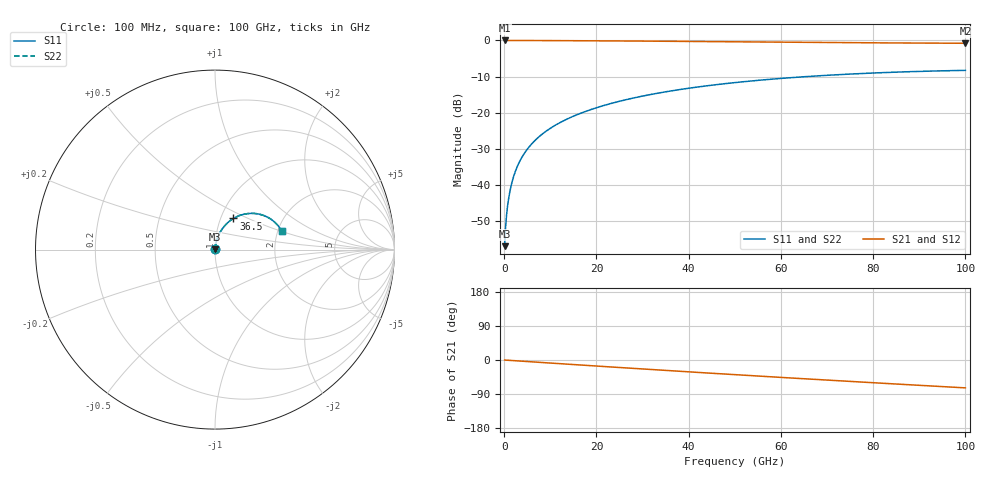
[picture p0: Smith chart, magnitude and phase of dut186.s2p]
! Touchstone file exported from HFSS 2026.1.0
!  File:  C:/ffzhzh/LocalFiles/Ansys_Project_Files/temp_train_RDL_186_1783500458_55944.aedt
!  Generated:  04:48:44 PM Jul  8, 2026
!  Design:  RDL
!  Project:  temp_train_RDL_186_1783500458_55944
! Variables:
!  h_bsmrdl = 2um
!  h_ox = 20um
!  h_rdl = 5um
!  h_sub = 80um
!  h_tmrdl = 3.33um
!  h_tsv = 80um
!  h_via = 3um
!  l_bsmrdl = 300um
!  l_sub = 628.73um
!  l_tmrdl = 228.73um
!  m_sub = 200um
!  pitch = 40.84um
!  r_tsv = 6um
!  s_tmrdl = 10um
!  w_bsmrdl = 18um
!  w_sub = 500um
!  w_tmrdl = 25.52um
!  x_tsv_center1 = 241.49um
!  x_tsv_center2 = 559.49um
!  x_tsv_center3 = 813.74um
!  x_tsv_center4 = 1131.74um
!  x_tsv_center5 = 1385.99um
!  x_tsv_center6 = 1703.99um
# GHz S MA R 50.000000
! Terminal data exported
! Port[1] = TM_RDL1_1_T1
! Port[2] = TM_RDL1_1_T2
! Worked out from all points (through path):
!   1000 points, 100 MHz to 100 GHz, reference 50 ohm
!   highest |S21| = -0.01 dB at 100 MHz (marker M1); lowest = -0.8 dB at 100 GHz (marker M2)
!   group delay of S21, straight-line fit = 2.04 ps
!   lowest |S11| = -57.0 dB at 100 MHz (marker M3), VSWR 1.00, Z = 50.1 + j0.0751 ohm
!   |S11| at or under -10 dB: start of sweep to 65.66 GHz
!   |S22| runs from -57.0 to -8.3 dB; largest |S21 - S12| = 5.3e-15
!   S11 on the Smith chart (normalised r, x): 100 MHz: 1.00, +0.00; 36.5 GHz: 1.15, +0.42; 100 GHz: 2.10, +0.50
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0.1  0.00142 31.9  0.9988 -0.1  0.9988 -0.1  0.00142 31.9
! Gamma 0 0 0 0
! Port Impedance 50 0 50 0
0.4  0.003109 62.1  0.9986 -0.3  0.9986 -0.3  0.003109 62.1
0.7  0.004857 70.6  0.9984 -0.6  0.9984 -0.6  0.004857 70.6
0.9  0.006042 73.7  0.9984 -0.7  0.9984 -0.7  0.006042 73.7
1.2  0.007848 76.7  0.9983 -1.0  0.9983 -1.0  0.007848 76.7
1.6  0.01029 79.0  0.9982 -1.3  0.9982 -1.3  0.01029 79.0
2.1  0.01336 80.5  0.9981 -1.7  0.9981 -1.7  0.01336 80.5
2.7  0.01706 81.4  0.9979 -2.2  0.9979 -2.2  0.01706 81.4
3.4  0.02136 81.7  0.9977 -2.8  0.9977 -2.8  0.02136 81.7
4.2  0.02625 81.7  0.9974 -3.4  0.9974 -3.4  0.02625 81.7
5.2  0.03232 81.4  0.997 -4.2  0.997 -4.2  0.03232 81.4
6.3  0.03893 80.8  0.9965 -5.1  0.9965 -5.1  0.03893 80.8
9.1  0.05548 79.1  0.995 -7.4  0.995 -7.4  0.05548 79.1
12.6  0.07568 76.7  0.9929 -10.1  0.9929 -10.1  0.07568 76.7
16.8  0.09935 73.7  0.9901 -13.4  0.9901 -13.4  0.09935 73.7
24.2  0.1396 68.3  0.9842 -19.2  0.9842 -19.2  0.1396 68.4
33.4  0.1866 61.6  0.9755 -26.3  0.9755 -26.3  0.1866 61.6
36.5  0.2015 59.4  0.9723 -28.6  0.9723 -28.6  0.2015 59.4
50.1  0.2611 49.5  0.9572 -38.8  0.9572 -38.8  0.2611 49.6
66.7  0.3194 37.9  0.9389 -50.7  0.9389 -50.7  0.3194 37.9
83.4  0.361 26.5  0.9234 -62.3  0.9234 -62.3  0.361 26.5
100  0.3852 15.4  0.9132 -73.6  0.9132 -73.6  0.3852 15.4
